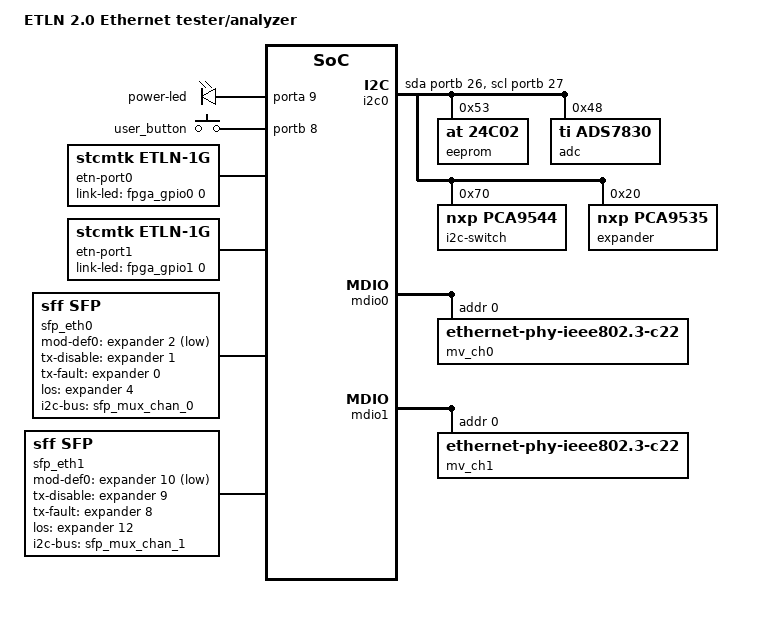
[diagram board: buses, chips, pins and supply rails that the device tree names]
/*
 * Copyright Altera Corporation (C) 2012,2014. All rights reserved.
 *
 * This program is free software; you can redistribute it and/or modify
 * it under the terms and conditions of the GNU General Public License,
 * version 2, as published by the Free Software Foundation.
 *
 * This program is distributed in the hope it will be useful, but WITHOUT
 * ANY WARRANTY; without even the implied warranty of MERCHANTABILITY or
 * FITNESS FOR A PARTICULAR PURPOSE.  See the GNU General Public License for
 * more details.
 *
 * You should have received a copy of the GNU General Public License along with
 * this program.  If not, see <http://www.gnu.org/licenses/>.
 */

#include "socfpga_cyclone5_stcmtk.dtsi"

/ {
	model = "ETLN 2.0 Ethernet tester/analyzer";

	host-gpio {
		compatible = "linux,gpio-exporter";
		status = "okay";
		exported-gpios = <&portb 15 GPIO_ACTIVE_HIGH>,
			<&portb 23 GPIO_ACTIVE_HIGH>,
			<&portb 19 GPIO_ACTIVE_HIGH>,
			<&portc 7 GPIO_ACTIVE_HIGH>;
		exported-gpio-names = "bypass",
			"power-fault",
			"poe-present",
			"devinfo-eeprom-write-protect";
		exported-gpio-directions = "low",
			"in",
			"in",
			"high";
	};

	leds {
		compatible = "gpio-leds";

		power_led {
			label = "power-led";
			linux,default-trigger = "default-on";
			gpios = <&porta 9 GPIO_ACTIVE_HIGH>;
			default-state = "on";
		};
	};

        gpio-keys {
                compatible = "gpio-keys";
                pinctrl-names = "default";

                user_button {
                        label = "user_button";
                        gpios = <&portb 8 0>;
                        debounce-interval = <10>;
                        linux,code = <KEY_ENTER>;
                };
        };

	fpga_gpio0: fpga-gpio0 {
		compatible = "stcmtk,soc-gpio-expander";
		target-fpga = <&fpga>;
		port-num = <0>;
		gpio-controller;
		#gpio-cells = <2>;
		gpio-line-names = "optic-link";
	};

	fpga_gpio1: fpga-gpio1 {
		compatible = "stcmtk,soc-gpio-expander";
		target-fpga = <&fpga>;
		port-num = <1>;
		gpio-controller;
		#gpio-cells = <2>;
		gpio-line-names = "optic-link";
	};

	soc {
		ethernet@ff702000 {
			phy-mode = "rgmii-id";
		};

		uart1: serial1@ffc03000 {
			status = "disabled";
		};

		i2c0: i2c@ffc04000 {
			scl-gpios = <&portb 27 GPIO_ACTIVE_HIGH>;
			sda-gpios = <&portb 26 GPIO_ACTIVE_HIGH>;

			eeprom@53 {
				compatible = "at,24c02";
				reg = <0x53>;
				status = "okay";
			};

			adc@48 {
				compatible = "ti,ads7830";
				reg = <0x48>;
				status = "okay";
			};

			i2c-switch@70 {
				compatible = "nxp,pca9544";
				#address-cells = <0x1>;
				#size-cells = <0x0>;
				reg = <0x70>;
				i2c-mux-idle-disconnect;

				/* The following two nodes describe I2C busses
				* located behind the MUX on channels 0 and 1
				* (indexed from 0).
				*/
				sfp_mux_chan_0: i2c@0 {
					#address-cells = <0x1>;
					#size-cells = <0x0>;
					reg = <0>;
				};

				sfp_mux_chan_1: i2c@1 {
					#address-cells = <0x1>;
					#size-cells = <0x0>;
					reg = <1>;
				};

				/* The following two nodes describe I2C mux
				* channels 2 and 3 (indexed from 0) that have
				* no devices connected to them.
				*
				* It would be great to disable them at all so
				* that they would not appear in sysfs but we
				* couldn't find an easy and obvious way to
				* achieve this.
				*/
				sfp_mux_chan_2: i2c@2 {
					#address-cells = <1>;
					#size-cells = <0>;
					reg = <2>;
				};
				sfp_mux_chan_3: i2c@3 {
					#address-cells = <1>;
					#size-cells = <0>;
					reg = <3>;
				};
			};

			expander: pca9535@20 {
				compatible = "nxp,pca9535";
				gpio-controller;
				#gpio-cells = <2>;
				reg = <0x20>;
				pinctrl-names = "default";
				/*
				interrupt-parent = <&portb>;
				interrupts = <23 IRQ_TYPE_LEVEL_LOW>;
				interrupt-controller;
				#interrupt-cells = <2>;
				*/
			};

		};

		i2c1: i2c@ffc05000 {
			status = "disabled";
		};

		etn-port0 {
			compatible = "stcmtk,etln-1g";
			target-fpga = <&fpga>;
			port-num = <0>;
			phy-handle = <&mv_ch0>;
			phy-mode = "1000base-x";
			mac-address = [ 00 21 CE 01 00 02 ];
			link-led-gpios = <&fpga_gpio0 0 GPIO_ACTIVE_HIGH>;
		};
		etn-port1 {
			compatible = "stcmtk,etln-1g";
			target-fpga = <&fpga>;
			port-num = <1>;
			phy-handle = <&mv_ch1>;
			phy-mode = "1000base-x";
			mac-address = [ 00 21 CE 01 00 03 ];
			link-led-gpios = <&fpga_gpio1 0 GPIO_ACTIVE_HIGH>;
		};

	};

	sfp_eth0: sfp-eth0 {
		compatible = "sff,sfp";
		i2c-bus = <&sfp_mux_chan_0>;
		pinctrl-names = "default";
		mod-def0-gpios = <&expander 2 GPIO_ACTIVE_LOW>;
		tx-disable-gpios = <&expander 1 GPIO_ACTIVE_HIGH>;
		tx-fault-gpios  = <&expander 0 GPIO_ACTIVE_HIGH>;
		los-gpios = <&expander 4 GPIO_ACTIVE_HIGH>;
	};

	sfp_eth1: sfp-eth1 {
		compatible = "sff,sfp";
		i2c-bus = <&sfp_mux_chan_1>;
		pinctrl-names = "default";
		mod-def0-gpios = <&expander 10 GPIO_ACTIVE_LOW>;
		tx-disable-gpios = <&expander 9 GPIO_ACTIVE_HIGH>;
		tx-fault-gpios  = <&expander 8 GPIO_ACTIVE_HIGH>;
		los-gpios = <&expander 12 GPIO_ACTIVE_HIGH>;
	};

	mdio0: mdio-0 {
		compatible = "stcmtk,et-1g-mdio";
		target-fpga = <&fpga>;
		#address-cells = <1>;
		#size-cells = <0>;
		mdio-num = <0>;
		status = "okay";

		mv_ch0:88X2222@0 {
			compatible =  /*"marvell,88x1512",*/ "ethernet-phy-ieee802.3-c22";
			reg = <0x0>;
			phy-mode = "1000base-x";
			sfp = <&sfp_eth0>;
			status = "okay";
		};
	};
	mdio1: mdio-1 {
		compatible = "stcmtk,et-1g-mdio";
		target-fpga = <&fpga>;
		#address-cells = <1>;
		#size-cells = <0>;
		mdio-num = <1>;
		status = "okay";

		mv_ch1:88X2222@0 {
			compatible =  /*"marvell,88x1512",*/ "ethernet-phy-ieee802.3-c22";
			reg = <0x0>;
			phy-mode = "1000base-x";
			sfp = <&sfp_eth1>;
			status = "okay";
		};
	};

};
